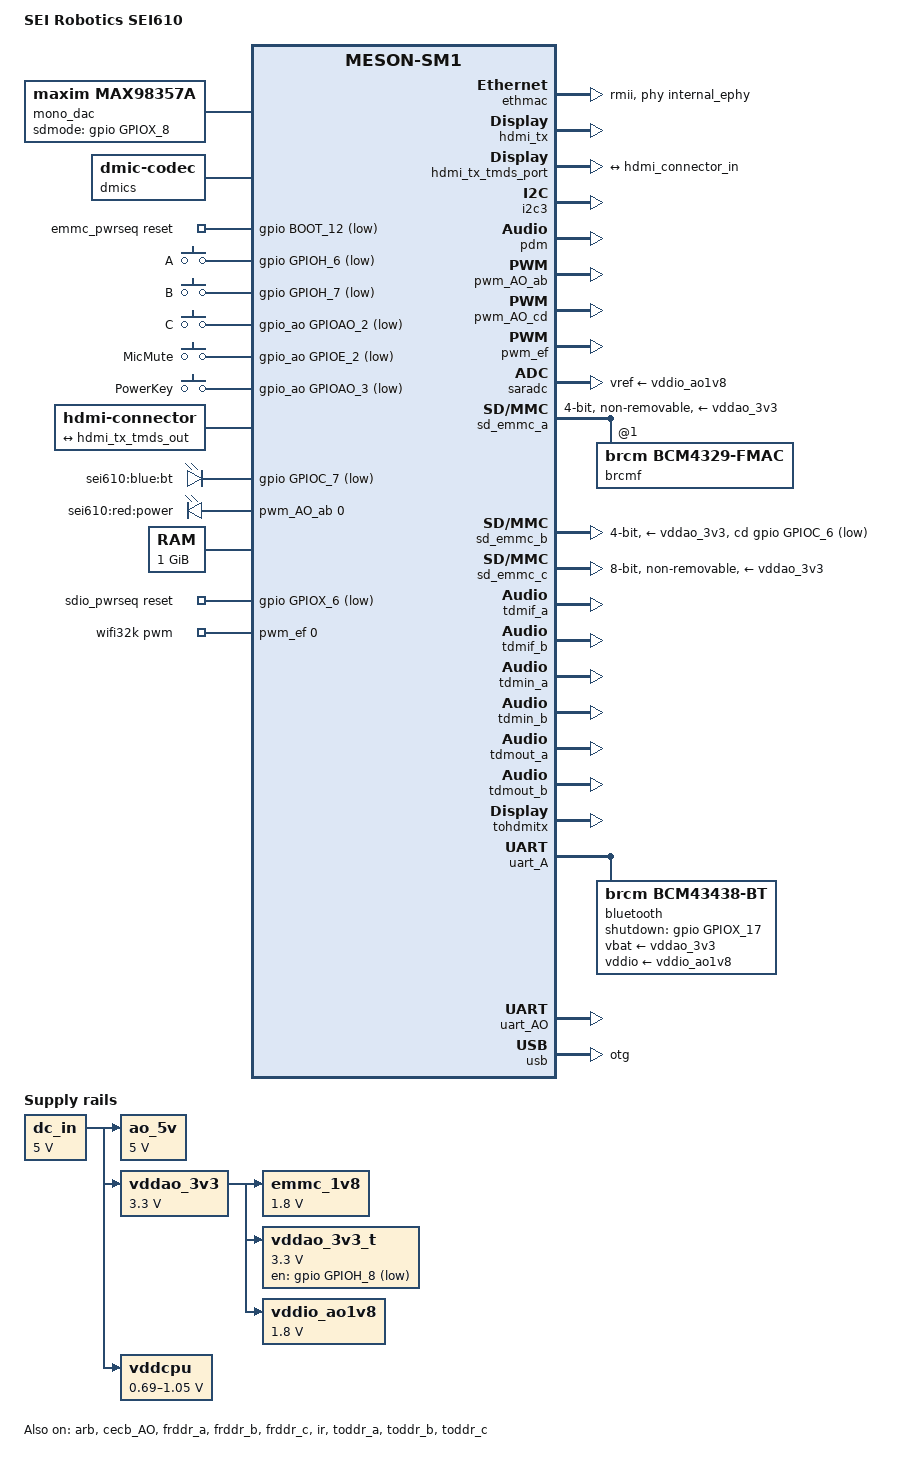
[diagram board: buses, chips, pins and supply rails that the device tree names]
// SPDX-License-Identifier: (GPL-2.0+ OR MIT)
/*
 * Copyright (c) 2019 BayLibre SAS. All rights reserved.
 */

/dts-v1/;

#include "meson-sm1.dtsi"
#include <dt-bindings/gpio/gpio.h>
#include <dt-bindings/input/input.h>
#include <dt-bindings/gpio/meson-g12a-gpio.h>
#include <dt-bindings/sound/meson-g12a-tohdmitx.h>

/ {
	compatible = "seirobotics,sei610", "amlogic,sm1";
	model = "SEI Robotics SEI610";

	aliases {
		serial0 = &uart_AO;
		ethernet0 = &ethmac;
	};

	mono_dac: audio-codec-0 {
		compatible = "maxim,max98357a";
		#sound-dai-cells = <0>;
		sound-name-prefix = "U16";
		sdmode-gpios = <&gpio GPIOX_8 GPIO_ACTIVE_HIGH>;
	};

	dmics: audio-codec-1 {
		#sound-dai-cells = <0>;
		compatible = "dmic-codec";
		num-channels = <2>;
		wakeup-delay-ms = <50>;
		status = "okay";
		sound-name-prefix = "MIC";
	};

	chosen {
		stdout-path = "serial0:115200n8";
	};

	emmc_pwrseq: emmc-pwrseq {
		compatible = "mmc-pwrseq-emmc";
		reset-gpios = <&gpio BOOT_12 GPIO_ACTIVE_LOW>;
	};

	gpio-keys {
		compatible = "gpio-keys";

		key-1 {
			label = "A";
			linux,code = <BTN_0>;
			gpios = <&gpio GPIOH_6 GPIO_ACTIVE_LOW>;
			interrupt-parent = <&gpio_intc>;
			interrupts = <IRQID_GPIOH_6 IRQ_TYPE_EDGE_BOTH>;
		};

		key-2 {
			label = "B";
			linux,code = <BTN_1>;
			gpios = <&gpio GPIOH_7 GPIO_ACTIVE_LOW>;
			interrupt-parent = <&gpio_intc>;
			interrupts = <IRQID_GPIOH_7 IRQ_TYPE_EDGE_BOTH>;
		};

		key-3 {
			label = "C";
			linux,code = <BTN_2>;
			gpios = <&gpio_ao GPIOAO_2 GPIO_ACTIVE_LOW>;
			interrupt-parent = <&gpio_intc>;
			interrupts = <IRQID_GPIOAO_2 IRQ_TYPE_EDGE_BOTH>;
		};

		key-mic-mute {
			label = "MicMute";
			linux,code = <SW_MUTE_DEVICE>;
			linux,input-type = <EV_SW>;
			gpios = <&gpio_ao GPIOE_2 GPIO_ACTIVE_LOW>;
			interrupt-parent = <&gpio_intc>;
			interrupts = <IRQID_GPIOE_2 IRQ_TYPE_EDGE_BOTH>;
		};

		key-power {
			label = "PowerKey";
			linux,code = <KEY_POWER>;
			gpios = <&gpio_ao GPIOAO_3 GPIO_ACTIVE_LOW>;
			interrupt-parent = <&gpio_intc>;
			interrupts = <IRQID_GPIOAO_3 IRQ_TYPE_EDGE_BOTH>;
		};
	};

	hdmi-connector {
		compatible = "hdmi-connector";
		type = "a";

		port {
			hdmi_connector_in: endpoint {
				remote-endpoint = <&hdmi_tx_tmds_out>;
			};
		};
	};

	led-controller-1 {
		compatible = "gpio-leds";

		led-1 {
			label = "sei610:blue:bt";
			gpios = <&gpio GPIOC_7 (GPIO_ACTIVE_LOW | GPIO_OPEN_DRAIN)>;
			default-state = "off";
		};
	};

	led-controller-2 {
		compatible = "pwm-leds";

		led-2 {
			label = "sei610:red:power";
			pwms = <&pwm_AO_ab 0 30518 0>;
			max-brightness = <255>;
			linux,default-trigger = "default-on";
			active-low;
		};
	};

	memory@0 {
		device_type = "memory";
		reg = <0x0 0x0 0x0 0x40000000>;
	};

	ao_5v: regulator-ao_5v {
		compatible = "regulator-fixed";
		regulator-name = "AO_5V";
		regulator-min-microvolt = <5000000>;
		regulator-max-microvolt = <5000000>;
		vin-supply = <&dc_in>;
		regulator-always-on;
	};

	dc_in: regulator-dc_in {
		compatible = "regulator-fixed";
		regulator-name = "DC_IN";
		regulator-min-microvolt = <5000000>;
		regulator-max-microvolt = <5000000>;
		regulator-always-on;
	};

	emmc_1v8: regulator-emmc_1v8 {
		compatible = "regulator-fixed";
		regulator-name = "EMMC_1V8";
		regulator-min-microvolt = <1800000>;
		regulator-max-microvolt = <1800000>;
		vin-supply = <&vddao_3v3>;
		regulator-always-on;
	};

	vddao_3v3: regulator-vddao_3v3 {
		compatible = "regulator-fixed";
		regulator-name = "VDDAO_3V3";
		regulator-min-microvolt = <3300000>;
		regulator-max-microvolt = <3300000>;
		vin-supply = <&dc_in>;
		regulator-always-on;
	};

	/* Used by Tuner, RGB Led & IR Emitter LED array */
	vddao_3v3_t: regulator-vddao_3v3_t {
		compatible = "regulator-fixed";
		regulator-name = "VDDAO_3V3_T";
		regulator-min-microvolt = <3300000>;
		regulator-max-microvolt = <3300000>;
		vin-supply = <&vddao_3v3>;
		gpio = <&gpio GPIOH_8 GPIO_OPEN_DRAIN>;
		regulator-always-on;
	};

	vddcpu: regulator-vddcpu {
		/*
		 * SY8120B1ABC DC/DC Regulator.
		 */
		compatible = "pwm-regulator";

		regulator-name = "VDDCPU";
		regulator-min-microvolt = <690000>;
		regulator-max-microvolt = <1050000>;

		pwm-supply = <&dc_in>;

		pwms = <&pwm_AO_cd 1 1500 0>;
		pwm-dutycycle-range = <100 0>;

		regulator-boot-on;
		regulator-always-on;
	};

	vddio_ao1v8: regulator-vddio_ao1v8 {
		compatible = "regulator-fixed";
		regulator-name = "VDDIO_AO1V8";
		regulator-min-microvolt = <1800000>;
		regulator-max-microvolt = <1800000>;
		vin-supply = <&vddao_3v3>;
		regulator-always-on;
	};

	sdio_pwrseq: sdio-pwrseq {
		compatible = "mmc-pwrseq-simple";
		reset-gpios = <&gpio GPIOX_6 GPIO_ACTIVE_LOW>;
		clocks = <&wifi32k>;
		clock-names = "ext_clock";
	};

	sound {
		compatible = "amlogic,axg-sound-card";
		model = "SEI610";
		audio-aux-devs = <&tdmout_a>, <&tdmout_b>,
				 <&tdmin_a>, <&tdmin_b>;
		audio-routing = "TDMOUT_A IN 0", "FRDDR_A OUT 0",
				"TDMOUT_A IN 1", "FRDDR_B OUT 0",
				"TDMOUT_A IN 2", "FRDDR_C OUT 0",
				"TDM_A Playback", "TDMOUT_A OUT",
				"TDMOUT_B IN 0", "FRDDR_A OUT 1",
				"TDMOUT_B IN 1", "FRDDR_B OUT 1",
				"TDMOUT_B IN 2", "FRDDR_C OUT 1",
				"TDM_B Playback", "TDMOUT_B OUT",
				"TODDR_A IN 4", "PDM Capture",
				"TODDR_B IN 4", "PDM Capture",
				"TODDR_C IN 4", "PDM Capture",
				"TDMIN_A IN 0", "TDM_A Capture",
				"TDMIN_A IN 3", "TDM_A Loopback",
				"TDMIN_B IN 0", "TDM_A Capture",
				"TDMIN_B IN 3", "TDM_A Loopback",
				"TDMIN_A IN 1", "TDM_B Capture",
				"TDMIN_A IN 4", "TDM_B Loopback",
				"TDMIN_B IN 1", "TDM_B Capture",
				"TDMIN_B IN 4", "TDM_B Loopback",
				"TODDR_A IN 0", "TDMIN_A OUT",
				"TODDR_B IN 0", "TDMIN_A OUT",
				"TODDR_C IN 0", "TDMIN_A OUT",
				"TODDR_A IN 1", "TDMIN_B OUT",
				"TODDR_B IN 1", "TDMIN_B OUT",
				"TODDR_C IN 1", "TDMIN_B OUT";

		assigned-clocks = <&clkc CLKID_MPLL2>,
				  <&clkc CLKID_MPLL0>,
				  <&clkc CLKID_MPLL1>;
		assigned-clock-parents = <0>, <0>, <0>;
		assigned-clock-rates = <294912000>,
				       <270950400>,
				       <393216000>;

		dai-link-0 {
			sound-dai = <&frddr_a>;
		};

		dai-link-1 {
			sound-dai = <&frddr_b>;
		};

		dai-link-2 {
			sound-dai = <&frddr_c>;
		};

		dai-link-3 {
			sound-dai = <&toddr_a>;
		};

		dai-link-4 {
			sound-dai = <&toddr_b>;
		};

		dai-link-5 {
			sound-dai = <&toddr_c>;
		};

		/* internal speaker interface */
		dai-link-6 {
			sound-dai = <&tdmif_a>;
			dai-format = "i2s";
			dai-tdm-slot-tx-mask-0 = <1 1>;
			mclk-fs = <256>;

			codec-0 {
				sound-dai = <&mono_dac>;
			};

			codec-1 {
				sound-dai = <&tohdmitx TOHDMITX_I2S_IN_A>;
			};
		};

		/* 8ch hdmi interface */
		dai-link-7 {
			sound-dai = <&tdmif_b>;
			dai-format = "i2s";
			dai-tdm-slot-tx-mask-0 = <1 1>;
			dai-tdm-slot-tx-mask-1 = <1 1>;
			dai-tdm-slot-tx-mask-2 = <1 1>;
			dai-tdm-slot-tx-mask-3 = <1 1>;
			mclk-fs = <256>;

			codec {
				sound-dai = <&tohdmitx TOHDMITX_I2S_IN_B>;
			};
		};

		/* internal digital mics */
		dai-link-8 {
			sound-dai = <&pdm>;

			codec {
				sound-dai = <&dmics>;
			};
		};

		/* hdmi glue */
		dai-link-9 {
			sound-dai = <&tohdmitx TOHDMITX_I2S_OUT>;

			codec {
				sound-dai = <&hdmi_tx>;
			};
		};
	};

	wifi32k: wifi32k {
		compatible = "pwm-clock";
		#clock-cells = <0>;
		clock-frequency = <32768>;
		pwms = <&pwm_ef 0 30518 0>; /* PWM_E at 32.768KHz */
	};
};

&arb {
	status = "okay";
};

&cec_AO {
	pinctrl-0 = <&cec_ao_a_h_pins>;
	pinctrl-names = "default";
	status = "disabled";
	hdmi-phandle = <&hdmi_tx>;
};

&cecb_AO {
	pinctrl-0 = <&cec_ao_b_h_pins>;
	pinctrl-names = "default";
	status = "okay";
	hdmi-phandle = <&hdmi_tx>;
};

&clkc_audio {
	status = "okay";
};

&cpu0 {
	cpu-supply = <&vddcpu>;
	operating-points-v2 = <&cpu_opp_table>;
	clocks = <&clkc CLKID_CPU_CLK>;
	clock-latency = <50000>;
};

&cpu1 {
	cpu-supply = <&vddcpu>;
	operating-points-v2 = <&cpu_opp_table>;
	clocks = <&clkc CLKID_CPU1_CLK>;
	clock-latency = <50000>;
};

&cpu2 {
	cpu-supply = <&vddcpu>;
	operating-points-v2 = <&cpu_opp_table>;
	clocks = <&clkc CLKID_CPU2_CLK>;
	clock-latency = <50000>;
};

&cpu3 {
	cpu-supply = <&vddcpu>;
	operating-points-v2 = <&cpu_opp_table>;
	clocks = <&clkc CLKID_CPU3_CLK>;
	clock-latency = <50000>;
};

&ethmac {
	status = "okay";
	phy-handle = <&internal_ephy>;
	phy-mode = "rmii";
};

&frddr_a {
	status = "okay";
};

&frddr_b {
	status = "okay";
};

&frddr_c {
	status = "okay";
};

&hdmi_tx {
	status = "okay";
	pinctrl-0 = <&hdmitx_hpd_pins>, <&hdmitx_ddc_pins>;
	pinctrl-names = "default";
};

&hdmi_tx_tmds_port {
	hdmi_tx_tmds_out: endpoint {
		remote-endpoint = <&hdmi_connector_in>;
	};
};

&i2c3 {
	status = "okay";
	pinctrl-0 = <&i2c3_sda_a_pins>, <&i2c3_sck_a_pins>;
	pinctrl-names = "default";
};

&ir {
	status = "okay";
	pinctrl-0 = <&remote_input_ao_pins>;
	pinctrl-names = "default";
};

&pdm {
	pinctrl-0 = <&pdm_din0_z_pins>, <&pdm_dclk_z_pins>;
	pinctrl-names = "default";
	status = "okay";
};

&pwm_AO_ab {
	status = "okay";
	pinctrl-0 = <&pwm_ao_a_pins>;
	pinctrl-names = "default";
	clocks = <&xtal>;
	clock-names = "clkin0";
};

&pwm_AO_cd {
	pinctrl-0 = <&pwm_ao_d_e_pins>;
	pinctrl-names = "default";
	clocks = <&xtal>;
	clock-names = "clkin1";
	status = "okay";
};

&pwm_ef {
	status = "okay";
	pinctrl-0 = <&pwm_e_pins>;
	pinctrl-names = "default";
	clocks = <&xtal>;
	clock-names = "clkin0";
};

&saradc {
	status = "okay";
	vref-supply = <&vddio_ao1v8>;
};

/* SDIO */
&sd_emmc_a {
	status = "okay";
	pinctrl-0 = <&sdio_pins>;
	pinctrl-1 = <&sdio_clk_gate_pins>;
	pinctrl-names = "default", "clk-gate";
	#address-cells = <1>;
	#size-cells = <0>;

	bus-width = <4>;
	cap-sd-highspeed;
	sd-uhs-sdr50;
	max-frequency = <100000000>;

	non-removable;
	disable-wp;

	/* WiFi firmware requires power to be kept while in suspend */
	keep-power-in-suspend;

	mmc-pwrseq = <&sdio_pwrseq>;

	vmmc-supply = <&vddao_3v3>;
	vqmmc-supply = <&vddio_ao1v8>;

	brcmf: wifi@1 {
		reg = <1>;
		compatible = "brcm,bcm4329-fmac";
	};
};

/* SD card */
&sd_emmc_b {
	status = "okay";
	pinctrl-0 = <&sdcard_c_pins>;
	pinctrl-1 = <&sdcard_clk_gate_c_pins>;
	pinctrl-names = "default", "clk-gate";

	bus-width = <4>;
	cap-sd-highspeed;
	max-frequency = <50000000>;
	disable-wp;

	cd-gpios = <&gpio GPIOC_6 GPIO_ACTIVE_LOW>;
	vmmc-supply = <&vddao_3v3>;
	vqmmc-supply = <&vddao_3v3>;
};

/* eMMC */
&sd_emmc_c {
	status = "okay";
	pinctrl-0 = <&emmc_ctrl_pins>, <&emmc_data_8b_pins>, <&emmc_ds_pins>;
	pinctrl-1 = <&emmc_clk_gate_pins>;
	pinctrl-names = "default", "clk-gate";

	bus-width = <8>;
	cap-mmc-highspeed;
	mmc-ddr-1_8v;
	mmc-hs200-1_8v;
	max-frequency = <200000000>;
	non-removable;
	disable-wp;

	mmc-pwrseq = <&emmc_pwrseq>;
	vmmc-supply = <&vddao_3v3>;
	vqmmc-supply = <&emmc_1v8>;
};

&tdmif_a {
	pinctrl-0 = <&tdm_a_dout0_pins>, <&tdm_a_fs_pins>, <&tdm_a_sclk_pins>;
	pinctrl-names = "default";
	status = "okay";

	assigned-clocks = <&clkc_audio AUD_CLKID_TDM_SCLK_PAD0>,
			  <&clkc_audio AUD_CLKID_TDM_LRCLK_PAD0>;
	assigned-clock-parents = <&clkc_audio AUD_CLKID_MST_A_SCLK>,
				 <&clkc_audio AUD_CLKID_MST_A_LRCLK>;
	assigned-clock-rates = <0>, <0>;
};

&tdmif_b {
	status = "okay";
};

&tdmin_a {
	status = "okay";
};

&tdmin_b {
	status = "okay";
};

&tdmout_a {
	status = "okay";
};

&tdmout_b {
	status = "okay";
};

&toddr_a {
	status = "okay";
};

&toddr_b {
	status = "okay";
};

&toddr_c {
	status = "okay";
};

&tohdmitx {
	status = "okay";
};

&uart_A {
	status = "okay";
	pinctrl-0 = <&uart_a_pins>, <&uart_a_cts_rts_pins>;
	pinctrl-names = "default";
	uart-has-rtscts;

	bluetooth {
		compatible = "brcm,bcm43438-bt";
		interrupt-parent = <&gpio_intc>;
		interrupts = <IRQID_GPIOX_18 IRQ_TYPE_LEVEL_HIGH>;
		interrupt-names = "host-wakeup";
		shutdown-gpios = <&gpio GPIOX_17 GPIO_ACTIVE_HIGH>;
		max-speed = <2000000>;
		clocks = <&wifi32k>;
		clock-names = "lpo";
		vbat-supply = <&vddao_3v3>;
		vddio-supply = <&vddio_ao1v8>;
	};
};

/* Exposed via the on-board USB to Serial FT232RL IC */
&uart_AO {
	status = "okay";
	pinctrl-0 = <&uart_ao_a_pins>;
	pinctrl-names = "default";
};

&usb {
	status = "okay";
	dr_mode = "otg";
};
